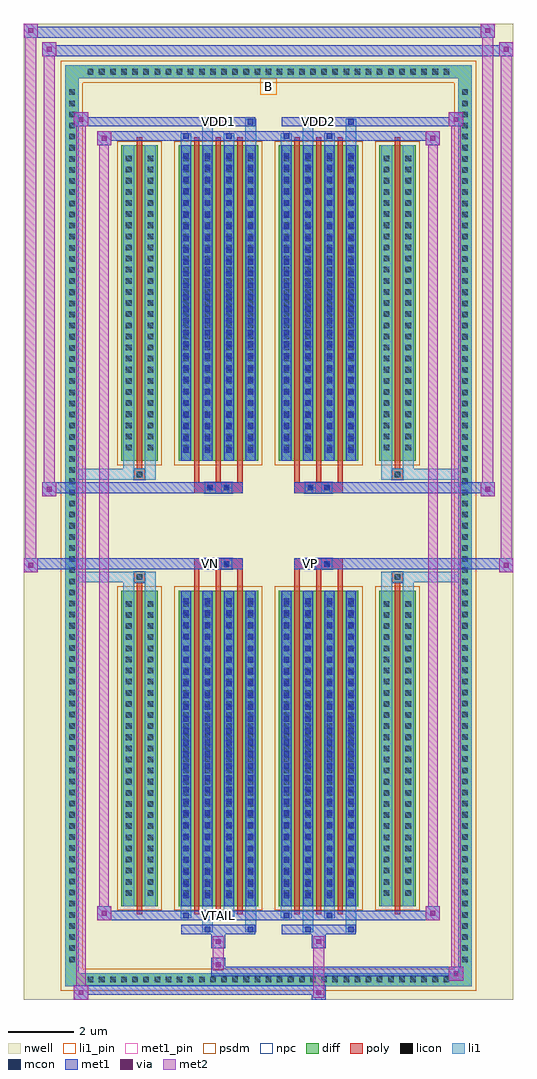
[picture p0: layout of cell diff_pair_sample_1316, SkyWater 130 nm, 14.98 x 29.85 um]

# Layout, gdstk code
import gdstk
lib = gdstk.Library(unit=1e-6, precision=5e-09)
def R(c, l, rs):  # rectangles x0, y0, x1, y1
    for r in rs: c.add(gdstk.rectangle(r[:2], r[2:], *l))
def A(c, l, x, y, w, h, nx, ny, dx, dy):  # array of equal rectangles
    R(c, l, [(x+i*dx, y+j*dy, x+i*dx+w, y+j*dy+h) for i in range(nx) for j in range(ny)])
def P(c, l, *ps):  # polygons
    for p in ps: c.add(gdstk.Polygon(p, *l))
nwell = (64, 20)
diff = (65, 20)
poly = (66, 20)
licon = (66, 44)
li1_pin = (67, 16)
li1 = (67, 20)
mcon = (67, 44)
met1_pin = (68, 16)
met1 = (68, 20)
via = (68, 44)
met2 = (69, 20)
psdm = (94, 20)
npc = (95, 20)

diff_pair_sample_1316 = lib.new_cell('diff_pair_sample_1316')
R(diff_pair_sample_1316, nwell, [(-7.49,-14.49,7.49,15.36), (-4.81,-12.68,-0.01,-0.8), (0.01,-12.68,4.81,-0.8), (-4.81,0.8,-0.01,12.68), (0.01,0.8,4.81,12.68)])
A(diff_pair_sample_1316, diff, -5.645, -14.09, 0.41, 0.41, 33, 2, 0.34, 27.77)
A(diff_pair_sample_1316, diff, -6.22, -13.465, 0.41, 0.41, 1, 79, 0, 0.34)
A(diff_pair_sample_1316, diff, 5.81, -13.465, 0.41, 0.41, 1, 79, 0, 0.34)
R(diff_pair_sample_1316, diff, [(-5.645,-14.09,5.645,-13.68), (-6.22,-13.465,-5.81,13.465), (5.81,-13.465,6.22,13.465), (-4.5,-11.635,-3.39,-1.985), (-2.75,-11.635,-0.32,-1.985), (0.32,-11.635,2.75,-1.985), (3.39,-11.635,4.5,-1.985), (-4.5,1.985,-3.39,11.635), (-2.75,1.985,-0.32,11.635), (0.32,1.985,2.75,11.635), (3.39,1.985,4.5,11.635), (-5.645,13.68,5.645,14.09)])
P(diff_pair_sample_1316, diff, [(6.22,14.09),(-6.22,14.09),(-6.22,-13.68),(-5.81,-13.68),(-5.81,13.68),(5.81,13.68),(5.81,-13.68),(-5.81,-13.68),(-6.22,-13.68),(-6.22,-14.09),(6.22,-14.09)])
A(diff_pair_sample_1316, poly, -2.275, -11.885, 0.16, 10.15, 3, 2, 0.66, 13.62)
A(diff_pair_sample_1316, poly, 0.795, -11.885, 0.16, 10.15, 3, 2, 0.66, 13.62)
A(diff_pair_sample_1316, poly, -2.275, -1.735, 0.16, 0.405, 3, 2, 0.66, 3.065)
A(diff_pair_sample_1316, poly, 0.795, -1.735, 0.16, 0.405, 3, 2, 0.66, 3.065)
R(diff_pair_sample_1316, poly, [(-4.025,-11.885,-3.865,-1.735), (3.865,-11.885,4.025,-1.735), (-4.11,-1.735,-3.78,-1.405), (-4.11,-1.735,-3.78,-1.405), (3.78,-1.735,4.11,-1.405), (3.78,-1.735,4.11,-1.405), (-2.275,-1.33,-0.795,-1), (-1.95,-1.33,-1.62,-1), (-1.45,-1.33,-1.12,-1), (0.795,-1.33,2.275,-1), (1.12,-1.33,1.45,-1), (1.62,-1.33,1.95,-1), (-2.275,1,-0.795,1.33), (-1.95,1,-1.62,1.33), (-1.45,1,-1.12,1.33), (0.795,1,2.275,1.33), (1.12,1,1.45,1.33), (1.62,1,1.95,1.33), (-4.11,1.405,-3.78,1.735), (-4.11,1.405,-3.78,1.735), (3.78,1.405,4.11,1.735), (3.78,1.405,4.11,1.735), (-4.025,1.735,-3.865,11.885), (3.865,1.735,4.025,11.885)])
A(diff_pair_sample_1316, licon, -5.525, -13.97, 0.17, 0.17, 33, 2, 0.34, 27.77)
A(diff_pair_sample_1316, licon, -6.1, -13.345, 0.17, 0.17, 1, 79, 0, 0.34)
A(diff_pair_sample_1316, licon, 5.93, -13.345, 0.17, 0.17, 1, 79, 0, 0.34)
A(diff_pair_sample_1316, licon, -4.36, -11.315, 0.17, 0.17, 1, 27, 0, 0.34)
A(diff_pair_sample_1316, licon, -3.7, -11.315, 0.17, 0.17, 1, 27, 0, 0.34)
A(diff_pair_sample_1316, licon, -2.61, -11.315, 0.17, 0.17, 4, 27, 0.66, 0.34)
A(diff_pair_sample_1316, licon, 0.46, -11.315, 0.17, 0.17, 4, 27, 0.66, 0.34)
A(diff_pair_sample_1316, licon, 3.53, -11.315, 0.17, 0.17, 1, 27, 0, 0.34)
A(diff_pair_sample_1316, licon, 4.19, -11.315, 0.17, 0.17, 1, 27, 0, 0.34)
A(diff_pair_sample_1316, licon, -4.36, 2.305, 0.17, 0.17, 1, 27, 0, 0.34)
A(diff_pair_sample_1316, licon, -3.7, 2.305, 0.17, 0.17, 1, 27, 0, 0.34)
A(diff_pair_sample_1316, licon, -2.61, 2.305, 0.17, 0.17, 4, 27, 0.66, 0.34)
A(diff_pair_sample_1316, licon, 0.46, 2.305, 0.17, 0.17, 4, 27, 0.66, 0.34)
A(diff_pair_sample_1316, licon, 3.53, 2.305, 0.17, 0.17, 1, 27, 0, 0.34)
A(diff_pair_sample_1316, licon, 4.19, 2.305, 0.17, 0.17, 1, 27, 0, 0.34)
R(diff_pair_sample_1316, licon, [(-4.03,-1.655,-3.86,-1.485), (3.86,-1.655,4.03,-1.485), (-1.87,-1.25,-1.7,-1.08), (-1.37,-1.25,-1.2,-1.08), (1.2,-1.25,1.37,-1.08), (1.7,-1.25,1.87,-1.08), (-1.87,1.08,-1.7,1.25), (-1.37,1.08,-1.2,1.25), (1.2,1.08,1.37,1.25), (1.7,1.08,1.87,1.25), (-4.03,1.485,-3.86,1.655), (3.86,1.485,4.03,1.655)])
R(diff_pair_sample_1316, li1_pin, [(-0.25,13.18,0.25,13.68)])
A(diff_pair_sample_1316, li1, -5.605, -14.05, 0.33, 0.33, 33, 2, 0.34, 27.77)
A(diff_pair_sample_1316, li1, -6.18, -13.425, 0.33, 0.33, 1, 79, 0, 0.34)
A(diff_pair_sample_1316, li1, 5.85, -13.425, 0.33, 0.33, 1, 79, 0, 0.34)
A(diff_pair_sample_1316, li1, -2.69, -11.635, 0.33, 9.65, 4, 2, 0.66, 13.62)
A(diff_pair_sample_1316, li1, 0.38, -11.635, 0.33, 9.65, 4, 2, 0.66, 13.62)
A(diff_pair_sample_1316, li1, -4.44, -11.395, 0.33, 0.33, 1, 27, 0, 0.34)
A(diff_pair_sample_1316, li1, -3.78, -11.395, 0.33, 0.33, 1, 27, 0, 0.34)
A(diff_pair_sample_1316, li1, -2.69, -11.395, 0.33, 0.33, 4, 27, 0.66, 0.34)
A(diff_pair_sample_1316, li1, -2.61, -11.395, 0.17, 0.17, 4, 26, 0.66, 0.36)
A(diff_pair_sample_1316, li1, -2.61, -11.395, 0.17, 9.17, 4, 2, 0.66, 13.62)
A(diff_pair_sample_1316, li1, 0.38, -11.395, 0.33, 0.33, 4, 27, 0.66, 0.34)
A(diff_pair_sample_1316, li1, 0.46, -11.395, 0.17, 0.17, 4, 26, 0.66, 0.36)
A(diff_pair_sample_1316, li1, 0.46, -11.395, 0.17, 9.17, 4, 2, 0.66, 13.62)
A(diff_pair_sample_1316, li1, 3.45, -11.395, 0.33, 0.33, 1, 27, 0, 0.34)
A(diff_pair_sample_1316, li1, 4.11, -11.395, 0.33, 0.33, 1, 27, 0, 0.34)
A(diff_pair_sample_1316, li1, -4.44, -1.735, 0.33, 0.33, 3, 2, 0.33, 3.14)
A(diff_pair_sample_1316, li1, 3.45, -1.735, 0.33, 0.33, 3, 2, 0.33, 3.14)
A(diff_pair_sample_1316, li1, -4.44, 2.225, 0.33, 0.33, 1, 27, 0, 0.34)
A(diff_pair_sample_1316, li1, -3.78, 2.225, 0.33, 0.33, 1, 27, 0, 0.34)
A(diff_pair_sample_1316, li1, -2.69, 2.225, 0.33, 0.33, 4, 27, 0.66, 0.34)
A(diff_pair_sample_1316, li1, -2.61, 2.225, 0.17, 0.17, 4, 26, 0.66, 0.36)
A(diff_pair_sample_1316, li1, 0.38, 2.225, 0.33, 0.33, 4, 27, 0.66, 0.34)
A(diff_pair_sample_1316, li1, 0.46, 2.225, 0.17, 0.17, 4, 26, 0.66, 0.36)
A(diff_pair_sample_1316, li1, 3.45, 2.225, 0.33, 0.33, 1, 27, 0, 0.34)
A(diff_pair_sample_1316, li1, 4.11, 2.225, 0.33, 0.33, 1, 27, 0, 0.34)
R(diff_pair_sample_1316, li1, [(-6.22,-14.09,-5.81,-13.68), (-6.22,-14.09,-5.81,-13.68), (-5.81,-14.09,5.81,-13.68), (5.81,-14.09,6.22,-13.68), (5.81,-14.09,6.22,-13.68), (-6.22,-13.68,-5.81,13.68), (5.81,-13.68,6.22,13.68), (-2.03,-12.44,-1.7,-11.635), (-1.95,-12.44,-1.78,-12.27), (-0.71,-12.44,-0.38,-11.635), (-0.63,-12.44,-0.46,-12.27), (1.04,-12.44,1.37,-11.635), (1.12,-12.44,1.29,-12.27), (2.36,-12.44,2.69,-11.635), (2.44,-12.44,2.61,-12.27), (-2.69,-12.01,-2.36,-11.635), (-2.61,-12.01,-2.44,-11.84), (-1.37,-12.01,-1.04,-11.635), (-1.29,-12.01,-1.12,-11.84), (0.38,-12.01,0.71,-11.635), (0.46,-12.01,0.63,-11.84), (1.7,-12.01,2.03,-11.635), (1.78,-12.01,1.95,-11.84), (-4.44,-11.635,-4.11,-1.985), (-3.78,-11.635,-3.45,-1.985), (3.45,-11.635,3.78,-1.985), (4.11,-11.635,4.44,-1.985), (-4.44,-1.985,-4.11,-1.405), (-3.78,-1.985,-3.45,-1.405), (3.45,-1.985,3.78,-1.405), (4.11,-1.985,4.44,-1.405), (-6.22,-1.735,-4.11,-1.405), (3.78,-1.735,6.22,-1.405), (-1.95,-1.33,-1.62,-1), (-1.45,-1.33,-1.12,-1), (1.12,-1.33,1.45,-1), (1.62,-1.33,1.95,-1), (-1.95,1,-1.62,1.33), (-1.45,1,-1.12,1.33), (1.12,1,1.45,1.33), (1.62,1,1.95,1.33), (-6.22,1.405,-4.11,1.735), (-4.44,1.405,-4.11,1.985), (-3.78,1.405,-3.45,1.985), (3.45,1.405,3.78,1.985), (3.78,1.405,6.22,1.735), (4.11,1.405,4.44,1.985), (-4.44,1.985,-4.11,11.635), (-3.78,1.985,-3.45,11.635), (3.45,1.985,3.78,11.635), (4.11,1.985,4.44,11.635), (-2.69,11.635,-2.36,12.01), (-2.03,11.635,-1.7,12.44), (-1.37,11.635,-1.04,12.01), (-0.71,11.635,-0.38,12.44), (0.38,11.635,0.71,12.01), (1.04,11.635,1.37,12.44), (1.7,11.635,2.03,12.01), (2.36,11.635,2.69,12.44), (-2.61,11.84,-2.44,12.01), (-1.29,11.84,-1.12,12.01), (0.46,11.84,0.63,12.01), (1.78,11.84,1.95,12.01), (-1.95,12.27,-1.78,12.44), (-0.63,12.27,-0.46,12.44), (1.12,12.27,1.29,12.44), (2.44,12.27,2.61,12.44), (-6.22,13.68,-5.81,14.09), (-6.22,13.68,-5.81,14.09), (-5.81,13.68,5.81,14.09), (5.81,13.68,6.22,14.09), (5.81,13.68,6.22,14.09)])
A(diff_pair_sample_1316, mcon, -2.61, -11.395, 0.17, 0.17, 4, 26, 0.66, 0.36)
A(diff_pair_sample_1316, mcon, 0.46, -11.395, 0.17, 0.17, 4, 26, 0.66, 0.36)
A(diff_pair_sample_1316, mcon, -2.61, 2.225, 0.17, 0.17, 4, 26, 0.66, 0.36)
A(diff_pair_sample_1316, mcon, 0.46, 2.225, 0.17, 0.17, 4, 26, 0.66, 0.36)
R(diff_pair_sample_1316, mcon, [(-1.95,-12.44,-1.78,-12.27), (-0.63,-12.44,-0.46,-12.27), (1.12,-12.44,1.29,-12.27), (2.44,-12.44,2.61,-12.27), (-2.61,-12.01,-2.44,-11.84), (-1.29,-12.01,-1.12,-11.84), (0.46,-12.01,0.63,-11.84), (1.78,-12.01,1.95,-11.84), (-1.87,-1.25,-1.7,-1.08), (-1.37,-1.25,-1.2,-1.08), (1.2,-1.25,1.37,-1.08), (1.7,-1.25,1.87,-1.08), (-1.87,1.08,-1.7,1.25), (-1.37,1.08,-1.2,1.25), (1.2,1.08,1.37,1.25), (1.7,1.08,1.87,1.25), (-2.61,11.84,-2.44,12.01), (-1.29,11.84,-1.12,12.01), (0.46,11.84,0.63,12.01), (1.78,11.84,1.95,12.01), (-1.95,12.27,-1.78,12.44), (-0.63,12.27,-0.46,12.44), (1.12,12.27,1.29,12.44), (2.44,12.27,2.61,12.44)])
R(diff_pair_sample_1316, met1_pin, [(-1.67,-12.05,-1.4,-11.78), (-1.92,-1.29,-1.65,-1.02), (1.15,-1.29,1.42,-1.02), (-1.67,12.23,-1.4,12.5), (1.4,12.23,1.67,12.5)])
A(diff_pair_sample_1316, met1, -2.67, -11.635, 0.29, 9.65, 4, 2, 0.66, 13.62)
A(diff_pair_sample_1316, met1, 0.4, -11.635, 0.29, 9.65, 4, 2, 0.66, 13.62)
A(diff_pair_sample_1316, met1, -2.67, -11.455, 0.29, 0.29, 4, 26, 0.66, 0.36)
A(diff_pair_sample_1316, met1, 0.4, -11.455, 0.29, 0.29, 4, 26, 0.66, 0.36)
A(diff_pair_sample_1316, met1, -2.67, 2.165, 0.29, 0.29, 4, 26, 0.66, 0.36)
A(diff_pair_sample_1316, met1, 0.4, 2.165, 0.29, 0.29, 4, 26, 0.66, 0.36)
R(diff_pair_sample_1316, met1, [(-5.95,-14.49,-5.52,-14.06), (1.32,-14.49,1.75,-14.06), (-5.95,-14.35,1.75,-14.06), (5.52,-13.92,5.95,-13.49), (-1.75,-13.78,5.95,-13.49), (-1.75,-13.64,-1.32,-13.21), (-1.75,-12.93,-1.32,-12.5), (1.32,-12.93,1.75,-12.5), (-2.67,-12.5,-0.4,-12.21), (-2.01,-12.5,-1.72,-12.21), (-0.69,-12.5,-0.4,-12.21), (0.4,-12.5,2.67,-12.21), (1.06,-12.5,1.35,-12.21), (2.38,-12.5,2.67,-12.21), (-5.24,-12.07,-4.81,-11.64), (-5.24,-12.07,-2.67,-11.78), (-2.67,-12.07,-2.38,-11.78), (-2.67,-12.07,-0.4,-11.78), (-1.35,-12.07,-1.06,-11.78), (-0.4,-12.07,0.4,-11.78), (0.4,-12.07,0.69,-11.78), (0.4,-12.07,2.67,-11.78), (1.72,-12.07,2.01,-11.78), (2.67,-12.07,5.24,-11.78), (4.81,-12.07,5.24,-11.64), (-7.49,-1.43,-7.06,-1), (7.06,-1.43,7.49,-1), (-7.49,-1.33,-0.795,-1), (-2.275,-1.33,-0.795,-1), (0.795,-1.33,2.275,-1), (0.795,-1.33,7.49,-1), (-1.93,-1.31,-1.64,-1.02), (-1.43,-1.31,-1.14,-1.02), (1.14,-1.31,1.43,-1.02), (1.64,-1.31,1.93,-1.02), (-6.92,0.9,-6.49,1.33), (6.49,0.9,6.92,1.33), (-6.92,1,-2.275,1.33), (-2.275,1,-0.795,1.33), (0.795,1,2.275,1.33), (2.275,1,6.92,1.33), (-1.93,1.02,-1.64,1.31), (-1.43,1.02,-1.14,1.31), (1.14,1.02,1.43,1.31), (1.64,1.02,1.93,1.31), (-5.24,11.64,-4.81,12.07), (4.81,11.64,5.24,12.07), (-5.24,11.78,-2.67,12.07), (-2.67,11.78,-2.38,12.07), (-2.67,11.78,-0.4,12.07), (-1.35,11.78,-1.06,12.07), (-0.4,11.78,0.4,12.07), (0.4,11.78,0.69,12.07), (0.4,11.78,2.67,12.07), (1.72,11.78,2.01,12.07), (2.67,11.78,5.24,12.07), (-5.95,12.21,-5.52,12.64), (-5.95,12.21,-2.67,12.5), (-2.67,12.21,-0.4,12.5), (-2.01,12.21,-1.72,12.5), (-0.69,12.21,-0.4,12.5), (0.4,12.21,2.67,12.5), (1.06,12.21,1.35,12.5), (2.38,12.21,2.67,12.5), (2.67,12.21,5.95,12.5), (5.52,12.21,5.95,12.64), (-6.92,14.36,-6.49,14.79), (-6.92,14.36,-4.81,14.69), (-4.81,14.36,4.81,14.69), (4.81,14.36,7.49,14.69), (7.06,14.36,7.49,14.79), (-7.49,14.93,-7.06,15.36), (-7.49,14.93,-4.81,15.26), (-4.81,14.93,4.81,15.26), (4.81,14.93,6.92,15.26), (6.49,14.93,6.92,15.36)])
R(diff_pair_sample_1316, via, [(-5.81,-14.35,-5.66,-14.2), (1.46,-14.35,1.61,-14.2), (5.66,-13.78,5.81,-13.63), (-1.61,-13.5,-1.46,-13.35), (-1.61,-12.79,-1.46,-12.64), (1.46,-12.79,1.61,-12.64), (-5.1,-11.93,-4.95,-11.78), (4.95,-11.93,5.1,-11.78), (-7.35,-1.29,-7.2,-1.14), (7.2,-1.29,7.35,-1.14), (-6.78,1.04,-6.63,1.19), (6.63,1.04,6.78,1.19), (-5.1,11.78,-4.95,11.93), (4.95,11.78,5.1,11.93), (-5.81,12.35,-5.66,12.5), (5.66,12.35,5.81,12.5), (-6.78,14.5,-6.63,14.65), (7.2,14.5,7.35,14.65), (-7.35,15.07,-7.2,15.22), (6.63,15.07,6.78,15.22)])
R(diff_pair_sample_1316, met2, [(-5.95,-14.49,-5.52,-14.06), (-5.88,-14.49,-5.59,12.64), (-5.59,-14.49,-5.52,-14.06), (-5.9,-14.44,-5.57,-14.11), (1.37,-14.44,1.7,-14.11), (1.37,-14.11,1.7,-12.88), (5.52,-13.92,5.95,-13.49), (5.59,-13.92,5.88,12.64), (5.88,-13.92,5.95,-13.49), (5.57,-13.87,5.9,-13.54), (-1.7,-13.59,-1.37,-13.26), (-1.7,-13.26,-1.37,-12.88), (-1.7,-12.88,-1.37,-12.55), (1.37,-12.88,1.7,-12.55), (-5.24,-12.07,-4.81,-11.64), (-5.17,-12.07,-4.88,12.07), (-4.88,-12.07,-4.81,-11.64), (4.81,-12.07,5.24,-11.64), (4.88,-12.07,5.17,12.07), (5.17,-12.07,5.24,-11.64), (-5.19,-12.02,-4.86,-11.69), (4.86,-12.02,5.19,-11.69), (-7.49,-1.43,-7.06,-1), (-7.44,-1.43,-7.11,15.36), (-7.11,-1.43,-7.06,-1), (7.06,-1.43,7.49,-1), (7.11,-1.43,7.44,14.79), (7.44,-1.43,7.49,-1), (-7.44,-1.38,-7.11,-1.05), (7.11,-1.38,7.44,-1.05), (-6.92,0.9,-6.49,1.33), (-6.87,0.9,-6.54,14.79), (-6.54,0.9,-6.49,1.33), (6.49,0.9,6.92,1.33), (6.54,0.9,6.87,15.36), (6.87,0.9,6.92,1.33), (-6.87,0.95,-6.54,1.28), (6.54,0.95,6.87,1.28), (-5.24,11.64,-4.81,12.07), (-4.88,11.64,-4.81,12.07), (4.81,11.64,5.24,12.07), (5.17,11.64,5.24,12.07), (-5.19,11.69,-4.86,12.02), (4.86,11.69,5.19,12.02), (-5.95,12.21,-5.52,12.64), (-5.59,12.21,-5.52,12.64), (5.52,12.21,5.95,12.64), (5.88,12.21,5.95,12.64), (-5.9,12.26,-5.57,12.59), (5.57,12.26,5.9,12.59), (-6.92,14.36,-6.49,14.79), (-6.54,14.36,-6.49,14.79), (7.06,14.36,7.49,14.79), (7.44,14.36,7.49,14.79), (-6.87,14.41,-6.54,14.74), (7.11,14.41,7.44,14.74), (-7.49,14.93,-7.06,15.36), (-7.11,14.93,-7.06,15.36), (6.49,14.93,6.92,15.36), (6.87,14.93,6.92,15.36), (-7.44,14.98,-7.11,15.31), (6.54,14.98,6.87,15.31)])
R(diff_pair_sample_1316, psdm, [(-4.63,-11.765,-3.26,-1.855), (-2.88,-11.765,-0.19,-1.855), (0.19,-11.765,2.88,-1.855), (3.26,-11.765,4.63,-1.855), (-4.63,1.855,-3.26,11.765), (-2.88,1.855,-0.19,11.765), (0.19,1.855,2.88,11.765), (3.26,1.855,4.63,11.765)])
P(diff_pair_sample_1316, psdm, [(6.35,14.22),(-6.35,14.22),(-6.35,-13.55),(-5.68,-13.55),(-5.68,13.55),(5.68,13.55),(5.68,-13.55),(-5.68,-13.55),(-6.35,-13.55),(-6.35,-14.22),(6.35,-14.22)])
R(diff_pair_sample_1316, npc, [(-4.13,-1.755,-3.76,-1.385), (3.76,-1.755,4.13,-1.385), (-1.97,-1.35,-1.6,-0.98), (-1.97,-1.35,-1.1,-0.98), (-1.97,-1.35,-1.1,-0.98), (-1.47,-1.35,-1.1,-0.98), (1.1,-1.35,1.47,-0.98), (1.1,-1.35,1.97,-0.98), (1.1,-1.35,1.97,-0.98), (1.6,-1.35,1.97,-0.98), (-1.97,0.98,-1.6,1.35), (-1.97,0.98,-1.1,1.35), (-1.97,0.98,-1.1,1.35), (-1.47,0.98,-1.1,1.35), (1.1,0.98,1.47,1.35), (1.1,0.98,1.97,1.35), (1.1,0.98,1.97,1.35), (1.6,0.98,1.97,1.35), (-4.13,1.385,-3.76,1.755), (3.76,1.385,4.13,1.755)])
diff_pair_sample_1316.add(gdstk.Label('VTAIL', (-1.535,-11.915), layer=68, texttype=5))
diff_pair_sample_1316.add(gdstk.Label('VN', (-1.785,-1.155), layer=68, texttype=5))
diff_pair_sample_1316.add(gdstk.Label('VP', (1.285,-1.155), layer=68, texttype=5))
diff_pair_sample_1316.add(gdstk.Label('B', (0,13.43), layer=67, texttype=5))
diff_pair_sample_1316.add(gdstk.Label('VDD2', (1.535,12.365), layer=68, texttype=5))
diff_pair_sample_1316.add(gdstk.Label('VDD1', (-1.535,12.365), layer=68, texttype=5))

lib.write_gds('diff_pair_sample_1316.gds')
